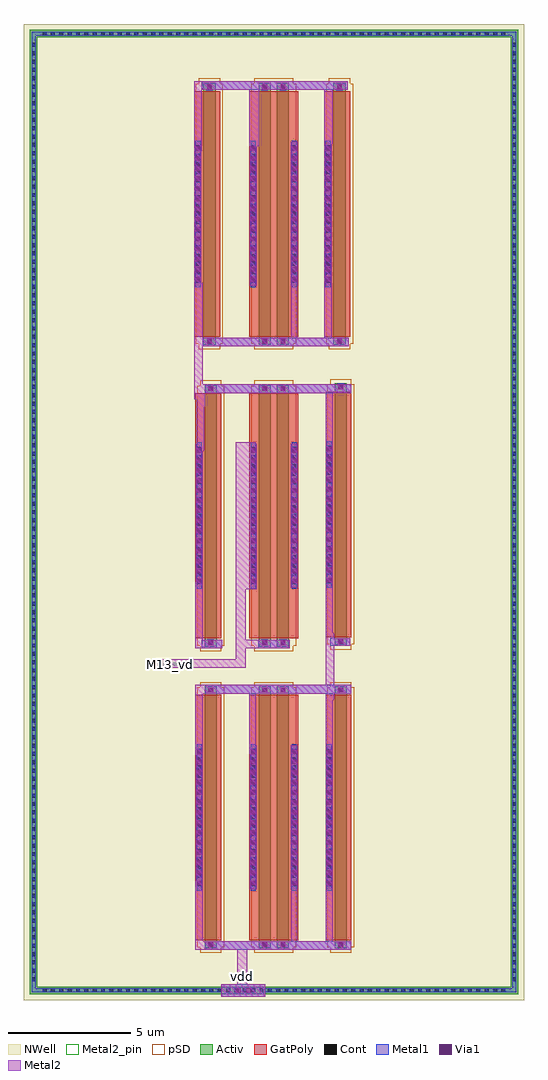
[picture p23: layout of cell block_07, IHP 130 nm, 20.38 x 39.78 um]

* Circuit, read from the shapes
.subckt block_07 M13_vd vdd
XM1 vdd vdd vdd vdd sg13_lv_pmos w=0.5u l=10u m=10
XM2 vdd M13_vd M13_vd vdd sg13_lv_pmos w=0.5u l=10u m=2
.ends

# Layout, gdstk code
from math import pi, radians
import gdstk
lib = gdstk.Library(unit=1e-6, precision=1e-09)
def R(c, l, rs):  # rectangles x0, y0, x1, y1
    for r in rs: c.add(gdstk.rectangle(r[:2], r[2:], *l))
def A(c, l, x, y, w, h, nx, ny, dx, dy):  # array of equal rectangles
    R(c, l, [(x+i*dx, y+j*dy, x+i*dx+w, y+j*dy+h) for i in range(nx) for j in range(ny)])
Activ = (1, 0)
GatPoly = (5, 0)
Cont = (6, 0)
Metal1 = (8, 0)
Metal2 = (10, 0)
Metal2_pin = (10, 2)
pSD = (14, 0)
Via1 = (19, 0)
NWell = (31, 0)

sg13_lv_pmos_udca79 = lib.new_cell('sg13_lv_pmos_UDCA79')
R(sg13_lv_pmos_udca79, Activ, [(-5.34,-0.155,5.34,0.345)])
R(sg13_lv_pmos_udca79, GatPoly, [(-5,-0.525,5,0.525)])
A(sg13_lv_pmos_udca79, Cont, -2.8, -0.455, 0.16, 0.16, 17, 1, 0.34, 0)
R(sg13_lv_pmos_udca79, Cont, [(-5.27,0.015,-5.11,0.175), (5.11,0.015,5.27,0.175)])
R(sg13_lv_pmos_udca79, Metal1, [(-2.985,-0.48,2.985,-0.27), (-5.34,-0.035,-5.04,0.225), (5.04,-0.035,5.34,0.225)])
R(sg13_lv_pmos_udca79, Metal2, [(-2.935,-0.52,2.935,-0.23), (-5.29,-0.075,-5.09,0.265), (5.09,-0.075,5.29,0.265)])
R(sg13_lv_pmos_udca79, pSD, [(-5.3,-0.455,5.3,-0.335), (-5.52,-0.335,5.52,0.525), (-5.3,0.525,5.3,0.645)])
A(sg13_lv_pmos_udca79, Via1, -2.76, -0.47, 0.19, 0.19, 14, 1, 0.41, 0)
R(sg13_lv_pmos_udca79, Via1, [(-5.285,0,-5.095,0.19), (5.095,0,5.285,0.19)])
R(sg13_lv_pmos_udca79, NWell, [(-5.65,-0.465,5.65,0.655)])
sg13_lv_pmos_udca79.add(gdstk.Label('D', (-5.19,0.095), layer=8, texttype=25))
sg13_lv_pmos_udca79.add(gdstk.Label('S', (5.19,0.095), layer=8, texttype=25))
sg13_lv_pmos_udca79.add(gdstk.Label('G', (0,-0.375), layer=8, texttype=25))

sg13_lv_pmos_uduu69 = lib.new_cell('sg13_lv_pmos_UDUU69')
R(sg13_lv_pmos_uduu69, Activ, [(-5.34,-0.345,5.34,0.155)])
R(sg13_lv_pmos_uduu69, GatPoly, [(-5,-0.525,5,0.525)])
A(sg13_lv_pmos_uduu69, Cont, -2.8, 0.295, 0.16, 0.16, 17, 1, 0.34, 0)
R(sg13_lv_pmos_uduu69, Cont, [(-5.27,-0.175,-5.11,-0.015), (5.11,-0.175,5.27,-0.015)])
R(sg13_lv_pmos_uduu69, Metal1, [(-5.34,-0.225,-5.04,0.035), (5.04,-0.225,5.34,0.035), (-2.985,0.27,2.985,0.48)])
R(sg13_lv_pmos_uduu69, Metal2, [(-5.29,-0.265,-5.09,0.075), (5.09,-0.265,5.29,0.075), (-2.935,0.23,2.935,0.52)])
R(sg13_lv_pmos_uduu69, pSD, [(-5.3,-0.645,5.3,-0.525), (-5.52,-0.525,5.52,0.335), (-5.3,0.335,5.3,0.455)])
A(sg13_lv_pmos_uduu69, Via1, -2.76, 0.28, 0.19, 0.19, 14, 1, 0.41, 0)
R(sg13_lv_pmos_uduu69, Via1, [(-5.285,-0.19,-5.095,0), (5.095,-0.19,5.285,0)])
R(sg13_lv_pmos_uduu69, NWell, [(-5.65,-0.655,5.65,0.465)])
sg13_lv_pmos_uduu69.add(gdstk.Label('D', (-5.19,-0.095), layer=8, texttype=25))
sg13_lv_pmos_uduu69.add(gdstk.Label('S', (5.19,-0.095), layer=8, texttype=25))
sg13_lv_pmos_uduu69.add(gdstk.Label('G', (0,0.375), layer=8, texttype=25))

block_07 = lib.new_cell('block_07')
R(block_07, Activ, [(-8.95,-13.85,10.95,-13.55), (-8.95,-13.55,-8.65,25.15), (10.65,-13.55,10.95,25.15), (-8.95,25.15,10.95,25.45)])
A(block_07, Cont, -8.43, -13.78, 0.16, 0.16, 56, 2, 0.34, 39)
A(block_07, Cont, -8.88, -13.32, 0.16, 0.16, 1, 113, 0, 0.34)
A(block_07, Cont, 10.72, -13.32, 0.16, 0.16, 1, 113, 0, 0.34)
R(block_07, Metal1, [(-1.15,-13.95,0.65,-13.78), (-8.88,-13.78,10.88,-13.62), (-8.88,-13.62,-8.72,25.22), (-1.15,-13.62,0.65,-13.45), (10.72,-13.62,10.88,25.22), (-1.8,-12.05,4.15,-11.7), (-1.8,-1.6,4.15,-1.25), (-1.95,0.25,-1.1,0.6), (0.35,0.25,1.65,0.6), (3.3,0.35,4.1,0.65), (-1.8,10.65,4.15,11), (-1.9,12.55,4.05,12.9), (-1.95,23,4,23.35), (-8.88,25.22,10.88,25.38)])
R(block_07, Metal2, [(-1.15,-13.95,0.65,-13.45), (-0.5,-13.45,-0.1,-12.05), (-2.2,-12.05,4.15,-11.7), (-2.2,-11.7,-1.9,-9.25), (1.7,-11.7,1.95,-9.35), (3.1,-11.7,3.4,-9.5), (-2.2,-4.1,-1.9,-1.6), (0,-4.05,0.25,-1.6), (3.1,-3.95,3.4,-1.85), (3.1,-1.85,3.45,-1.6), (-2.2,-1.6,4.15,-1.25), (3.1,-1.25,3.45,0.35), (-3.85,-0.55,-0.15,-0.2), (-0.55,-0.2,-0.15,0.25), (-2.2,0.25,-1.1,0.6), (-0.55,0.25,1.65,0.6), (3.1,0.35,4.1,0.65), (-2.2,0.6,-1.9,2.95), (-0.55,0.6,-0.15,2.65), (3.1,0.65,3.45,0.85), (3.1,0.85,3.4,2.9), (-0.55,2.65,0.3,2.85), (-0.55,2.85,0.25,8.65), (3.1,8.25,3.4,10.65), (-2.15,8.3,-1.85,10.1), (-2.15,10.1,-1.8,10.4), (-2.25,10.4,-1.8,10.65), (-2.25,10.65,4.15,11), (-2.25,11,-1.9,12.55), (-2.25,12.55,4.05,12.9), (-2.25,12.9,-1.9,15.15), (1.7,12.9,1.95,15.15), (3.05,12.9,3.35,15.15), (-2.25,20.5,-1.95,23), (0,20.7,0.4,23), (3.05,20.8,3.4,23), (-2.25,23,4,23.35)])
R(block_07, Metal2_pin, [(-0.4,-13.35,-0.2,-12.95), (-3.65,-0.45,-2.8,-0.35)])
R(block_07, Via1, [(-0.55,-13.795,-0.36,-13.605), (-0.14,-13.795,0.05,-13.605)])
R(block_07, NWell, [(-9.19,-14.09,11.19,25.69)])
block_07.add(gdstk.Reference(sg13_lv_pmos_udca79, (-1.675,-6.65), rotation=3*pi/2))
block_07.add(gdstk.Reference(sg13_lv_pmos_udca79, (0.525,-6.65), rotation=3*pi/2))
block_07.add(gdstk.Reference(sg13_lv_pmos_uduu69, (1.455,-6.65), rotation=3*pi/2))
block_07.add(gdstk.Reference(sg13_lv_pmos_udca79, (3.625,-6.65), rotation=3*pi/2))
block_07.add(gdstk.Reference(sg13_lv_pmos_udca79, (-1.675,5.65), rotation=3*pi/2))
block_07.add(gdstk.Reference(sg13_lv_pmos_udca79, (0.525,5.65), rotation=3*pi/2))
block_07.add(gdstk.Reference(sg13_lv_pmos_uduu69, (1.455,5.65), rotation=3*pi/2))
block_07.add(gdstk.Reference(sg13_lv_pmos_udca79, (3.625,5.7), rotation=3*pi/2))
block_07.add(gdstk.Reference(sg13_lv_pmos_udca79, (-1.725,17.95), rotation=3*pi/2))
block_07.add(gdstk.Reference(sg13_lv_pmos_udca79, (0.525,17.95), rotation=3*pi/2))
block_07.add(gdstk.Reference(sg13_lv_pmos_uduu69, (1.455,17.95), rotation=3*pi/2))
block_07.add(gdstk.Reference(sg13_lv_pmos_udca79, (3.575,17.95), rotation=3*pi/2))
block_07.add(gdstk.Label('vdd', (-0.3,-13.15), layer=10, texttype=25))
block_07.add(gdstk.Label('M13_vd', (-3.225,-0.4), layer=10, texttype=25))

lib.write_gds('block_07.gds')
